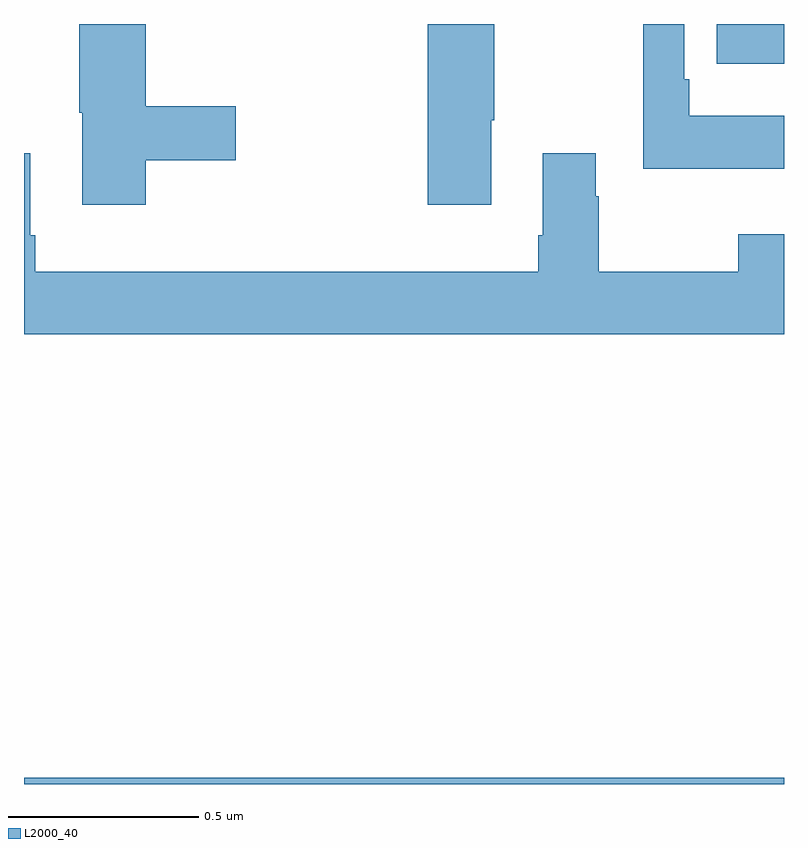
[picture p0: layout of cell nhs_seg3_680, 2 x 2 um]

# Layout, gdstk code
import gdstk
lib = gdstk.Library(unit=1e-6, precision=1e-09)
def R(c, l, rs):  # rectangles x0, y0, x1, y1
    for r in rs: c.add(gdstk.rectangle(r[:2], r[2:], *l))
def P(c, l, *ps):  # polygons
    for p in ps: c.add(gdstk.Polygon(p, *l))
L2000_40 = (2000, 40)

nhs_seg3_680 = lib.new_cell('nhs_seg3_680')
R(nhs_seg3_680, L2000_40, [(119,698.4,121,698.416), (120.823,700.295,121,700.4)])
P(nhs_seg3_680, L2000_40, [(119.321,700.042),(119.557,700.042),(119.557,700.184),(119.321,700.184),(119.321,700.4),(119.146,700.4),(119.146,700.167),(119.153,700.167),(119.153,699.924),(119.321,699.924)],
  [(121,700.159),(120.751,700.159),(120.751,700.255),(120.738,700.255),(120.738,700.4),(120.63,700.4),(120.63,700.019),(121,700.019)],
  [(120.229,700.147),(120.237,700.147),(120.237,700.4),(120.062,700.4),(120.062,699.924),(120.229,699.924)],
  [(121,699.847),(120.88,699.847),(120.88,699.748),(120.513,699.748),(120.513,699.947),(120.505,699.947),(120.505,700.06),(120.365,700.06),(120.365,699.844),(120.353,699.844),(120.353,699.748),(119.03,699.748),(119.03,699.844),(119.017,699.844),(119.017,700.06),(119,700.06),(119,699.584),(121,699.584)])

lib.write_gds('nhs_seg3_680.gds')
